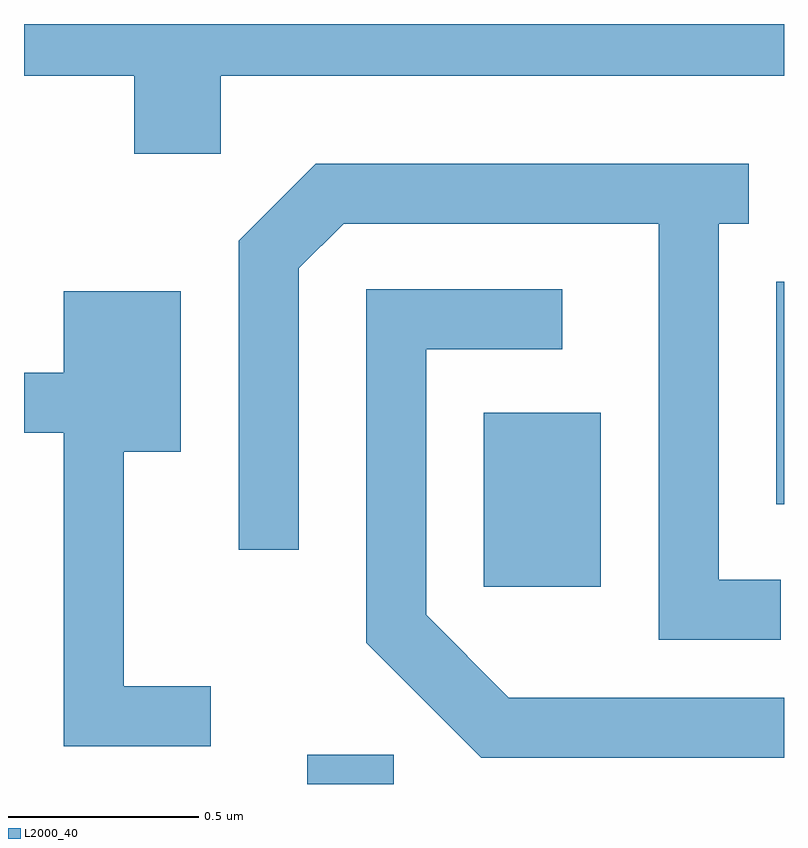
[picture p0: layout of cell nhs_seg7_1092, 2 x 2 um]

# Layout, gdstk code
import gdstk
lib = gdstk.Library(unit=1e-6, precision=1e-09)
def R(c, l, rs):  # rectangles x0, y0, x1, y1
    for r in rs: c.add(gdstk.rectangle(r[:2], r[2:], *l))
def P(c, l, *ps):  # polygons
    for p in ps: c.add(gdstk.Polygon(p, *l))
L2000_40 = (2000, 40)

nhs_seg7_1092 = lib.new_cell('nhs_seg7_1092')
R(nhs_seg7_1092, L2000_40, [(193.356,1801.252,193.584,1801.329), (193.821,1801.771,194.129,1802.229), (194.591,1801.988,194.611,1802.574)])
P(nhs_seg7_1092, L2000_40, [(193.129,1803.116),(194.611,1803.116),(194.611,1803.252),(192.611,1803.252),(192.611,1803.116),(192.901,1803.116),(192.901,1802.911),(193.129,1802.911)],
  [(194.603,1801.789),(194.439,1801.789),(194.439,1802.726),(194.518,1802.726),(194.518,1802.884),(193.379,1802.884),(193.176,1802.682),(193.176,1801.868),(193.334,1801.868),(193.334,1802.609),(193.452,1802.726),(194.281,1802.726),(194.281,1801.631),(194.603,1801.631)],
  [(194.611,1801.479),(193.887,1801.479),(193.669,1801.697),(193.669,1802.396),(194.028,1802.396),(194.028,1802.554),(193.511,1802.554),(193.511,1801.624),(193.814,1801.321),(194.611,1801.321)],
  [(193.103,1801.509),(192.874,1801.509),(192.874,1802.126),(193.024,1802.126),(193.024,1802.549),(192.716,1802.549),(192.716,1802.334),(192.611,1802.334),(192.611,1802.176),(192.716,1802.176),(192.716,1801.351),(193.103,1801.351)])

lib.write_gds('nhs_seg7_1092.gds')
